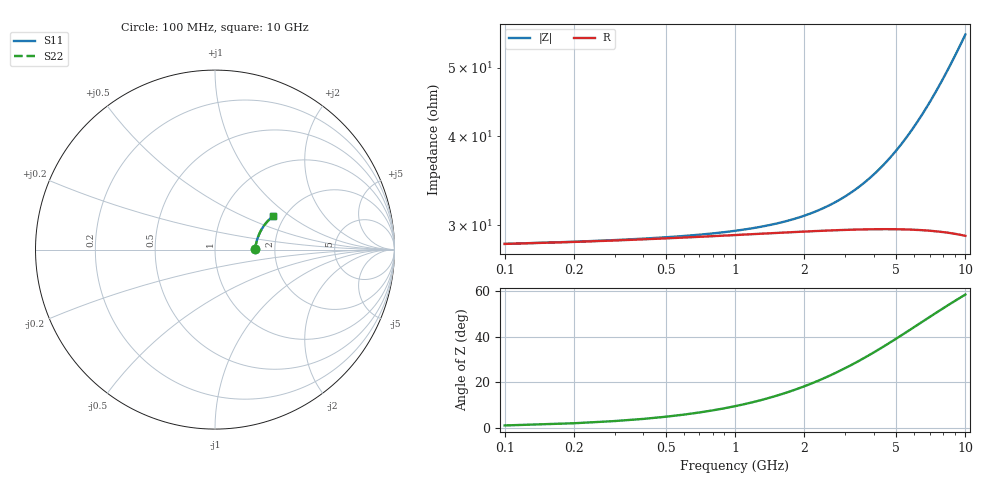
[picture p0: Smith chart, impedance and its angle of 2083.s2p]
# Hz S RI R 50.00
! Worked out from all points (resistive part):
!   100 points, 100 MHz to 10 GHz, reference 50 ohm
!   read as one part in series: R = 28.2 ohm at 100 MHz
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1e8  0.2203 0.00228  0.7797 -0.00355  0.7797 -0.00355  0.2203 0.00228
2e8  0.2214 0.00454  0.7786 -0.00708  0.7786 -0.00708  0.2214 0.00454
4e8  0.223 0.00903  0.777 -0.0141  0.777 -0.0141  0.223 0.00903
7e8  0.2248 0.0157  0.7752 -0.0246  0.7752 -0.0246  0.2248 0.0157
1.2e9  0.2274 0.0268  0.7725 -0.042  0.7725 -0.042  0.2274 0.0268
1.5e9  0.2289 0.0333  0.7709 -0.0524  0.7709 -0.0524  0.2289 0.0333
1.8e9  0.2305 0.0398  0.7692 -0.0627  0.7692 -0.0627  0.2305 0.0398
2.2e9  0.2328 0.0484  0.7667 -0.0764  0.7667 -0.0764  0.2328 0.0484
2.6e9  0.2353 0.057  0.764 -0.09  0.764 -0.09  0.2353 0.057
3e9  0.2381 0.0654  0.7611 -0.1035  0.7611 -0.1035  0.2381 0.0654
3.4e9  0.241 0.0737  0.7579 -0.1169  0.7579 -0.1169  0.241 0.0737
3.8e9  0.2443 0.0818  0.7544 -0.1301  0.7544 -0.1301  0.2443 0.0818
4.2e9  0.2477 0.0898  0.7506 -0.1433  0.7506 -0.1433  0.2477 0.0898
4.6e9  0.2515 0.0977  0.7466 -0.1562  0.7466 -0.1562  0.2515 0.0977
5.1e9  0.2565 0.1073  0.7412 -0.1722  0.7412 -0.1722  0.2565 0.1073
5.9e9  0.2652 0.1221  0.7316 -0.1972  0.7316 -0.1972  0.2652 0.1221
6.7e9  0.2749 0.1362  0.721 -0.2215  0.721 -0.2215  0.2749 0.1362
7.5e9  0.2855 0.1494  0.7094 -0.245  0.7094 -0.245  0.2855 0.1494
8e9  0.2925 0.1572  0.7017 -0.2592  0.7017 -0.2592  0.2925 0.1572
8.4e9  0.2983 0.1632  0.6953 -0.2703  0.6953 -0.2703  0.2983 0.1632
9.2e9  0.3104 0.1745  0.6819 -0.2919  0.6819 -0.2919  0.3104 0.1745
1e10  0.3231 0.1848  0.6677 -0.3125  0.6677 -0.3125  0.3231 0.1848
